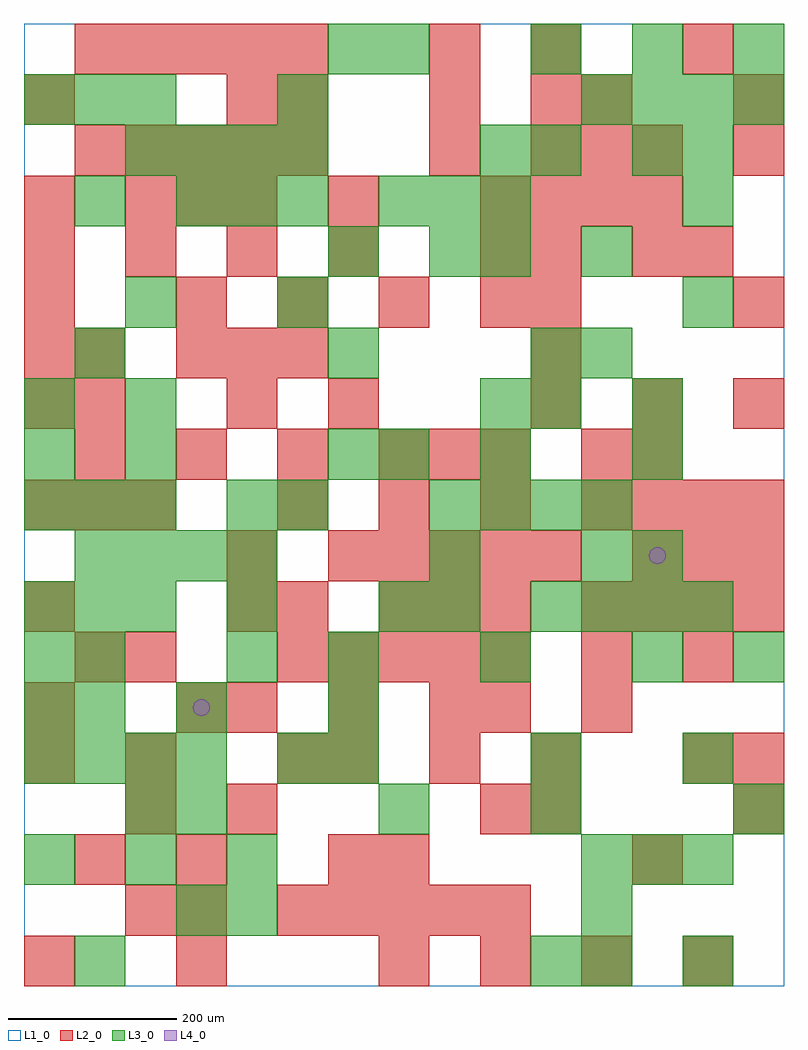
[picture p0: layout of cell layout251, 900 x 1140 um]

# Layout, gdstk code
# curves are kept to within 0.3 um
import gdstk
lib = gdstk.Library(unit=1e-6, precision=1e-09)
def R(c, l, rs):  # rectangles x0, y0, x1, y1
    for r in rs: c.add(gdstk.rectangle(r[:2], r[2:], *l))
def A(c, l, x, y, w, h, nx, ny, dx, dy):  # array of equal rectangles
    R(c, l, [(x+i*dx, y+j*dy, x+i*dx+w, y+j*dy+h) for i in range(nx) for j in range(ny)])
def P(c, l, *ps):  # polygons
    for p in ps: c.add(gdstk.Polygon(p, *l))
L1_0 = (1, 0)
L2_0 = (2, 0)
L3_0 = (3, 0)
L4_0 = (4, 0)

layout251 = lib.new_cell('layout251')
R(layout251, L1_0, [(0,0,900,1140)])
A(layout251, L2_0, 180, 0, 60, 60, 1, 3, 0, 60)
A(layout251, L2_0, 420, 0, 60, 60, 4, 1, 120, 0)
A(layout251, L2_0, 300, 60, 60, 60, 5, 2, 60, 300)
A(layout251, L2_0, 360, 240, 60, 60, 3, 1, 120, 0)
A(layout251, L2_0, 240, 300, 60, 60, 3, 1, 120, 0)
A(layout251, L2_0, 420, 420, 60, 60, 3, 1, 60, 0)
A(layout251, L2_0, 660, 420, 60, 60, 4, 1, 60, 0)
A(layout251, L2_0, 360, 480, 60, 60, 5, 1, 60, 0)
A(layout251, L2_0, 720, 480, 60, 60, 3, 2, 60, 60)
A(layout251, L2_0, 0, 540, 60, 60, 3, 1, 60, 0)
A(layout251, L2_0, 300, 540, 60, 60, 4, 1, 120, 0)
A(layout251, L2_0, 60, 600, 60, 60, 4, 1, 120, 0)
A(layout251, L2_0, 0, 660, 60, 60, 1, 3, 0, 60)
A(layout251, L2_0, 600, 660, 60, 60, 3, 1, 120, 0)
A(layout251, L2_0, 180, 720, 60, 60, 3, 1, 60, 0)
A(layout251, L2_0, 600, 720, 60, 60, 1, 3, 0, 60)
A(layout251, L2_0, 180, 780, 60, 60, 4, 1, 120, 0)
A(layout251, L2_0, 0, 840, 60, 60, 4, 1, 120, 0)
A(layout251, L2_0, 120, 900, 60, 60, 3, 1, 60, 0)
A(layout251, L2_0, 540, 900, 60, 60, 4, 1, 60, 0)
A(layout251, L2_0, 60, 960, 60, 60, 5, 2, 60, 120)
A(layout251, L2_0, 480, 960, 60, 60, 1, 3, 0, 60)
A(layout251, L2_0, 600, 960, 60, 60, 3, 1, 60, 0)
R(layout251, L2_0, [(0,0,60,60), (120,60,180,120), (60,120,120,180), (360,120,420,180), (420,120,480,180), (720,120,780,180), (120,180,180,240), (240,180,300,240), (540,180,600,240), (600,180,660,240), (840,180,900,240), (0,240,60,300), (120,240,180,300), (300,240,360,300), (780,240,840,300), (840,240,900,300), (0,300,60,360), (180,300,240,360), (540,300,600,360), (660,300,720,360), (60,360,120,420), (120,360,180,420), (660,360,720,420), (780,360,840,420), (0,420,60,480), (240,420,300,480), (300,420,360,480), (240,480,300,540), (480,600,540,660), (540,600,600,660), (660,600,720,660), (720,600,780,660), (60,660,120,720), (240,660,300,720), (360,660,420,720), (60,720,120,780), (840,780,900,840), (540,840,600,900), (720,840,780,900), (780,840,840,900), (0,900,60,960), (360,900,420,960), (840,960,900,1020), (0,1020,60,1080), (240,1020,300,1080), (300,1020,360,1080), (600,1020,660,1080), (660,1020,720,1080), (840,1020,900,1080), (600,1080,660,1140), (780,1080,840,1140)])
A(layout251, L3_0, 180, 60, 60, 60, 1, 3, 0, 120)
A(layout251, L3_0, 0, 120, 60, 60, 3, 1, 120, 0)
A(layout251, L3_0, 660, 120, 60, 60, 3, 1, 60, 0)
A(layout251, L3_0, 0, 240, 60, 60, 4, 1, 60, 0)
A(layout251, L3_0, 360, 360, 60, 60, 3, 1, 180, 0)
A(layout251, L3_0, 0, 420, 60, 60, 3, 2, 60, 120)
A(layout251, L3_0, 600, 420, 60, 60, 4, 1, 60, 0)
A(layout251, L3_0, 60, 480, 60, 60, 4, 1, 60, 0)
A(layout251, L3_0, 300, 540, 60, 60, 1, 3, 0, 240)
A(layout251, L3_0, 480, 540, 60, 60, 4, 1, 60, 0)
A(layout251, L3_0, 360, 600, 60, 60, 1, 3, 0, 120)
A(layout251, L3_0, 180, 900, 60, 60, 3, 1, 60, 0)
A(layout251, L3_0, 420, 900, 60, 60, 3, 1, 60, 0)
A(layout251, L3_0, 120, 960, 60, 60, 4, 1, 60, 0)
A(layout251, L3_0, 0, 1020, 60, 60, 3, 1, 60, 0)
A(layout251, L3_0, 660, 1020, 60, 60, 4, 1, 60, 0)
A(layout251, L3_0, 600, 1080, 60, 60, 3, 1, 120, 0)
R(layout251, L3_0, [(60,0,120,60), (600,0,660,60), (660,0,720,60), (780,0,840,60), (240,60,300,120), (660,60,720,120), (120,180,180,240), (420,180,480,240), (600,180,660,240), (840,180,900,240), (300,240,360,300), (360,240,420,300), (600,240,660,300), (780,240,840,300), (0,300,60,360), (60,300,120,360), (360,300,420,360), (0,360,60,420), (60,360,120,420), (240,360,300,420), (840,360,900,420), (240,420,300,480), (420,420,480,480), (480,420,540,480), (480,480,540,540), (660,480,720,540), (720,480,780,540), (240,540,300,600), (0,600,60,660), (120,600,180,660), (420,600,480,660), (540,600,600,660), (720,600,780,660), (0,660,60,720), (120,660,180,720), (540,660,600,720), (600,660,660,720), (720,660,780,720), (60,720,120,780), (600,720,660,780), (660,720,720,780), (120,780,180,840), (780,780,840,840), (480,840,540,900), (540,840,600,900), (660,840,720,900), (60,900,120,960), (780,900,840,960), (540,960,600,1020), (600,960,660,1020), (720,960,780,1020), (780,960,840,1020), (360,1080,420,1140), (420,1080,480,1140)])
P(layout251, L4_0, [(220,330),(219.239,333.827),(217.071,337.071),(213.827,339.239),(210,340),(206.173,339.239),(202.929,337.071),(200.761,333.827),(200,330),(200.761,326.173),(202.929,322.929),(206.173,320.761),(210,320),(213.827,320.761),(217.071,322.929),(219.239,326.173)],
  [(760,510),(759.239,513.827),(757.071,517.071),(753.827,519.239),(750,520),(746.173,519.239),(742.929,517.071),(740.761,513.827),(740,510),(740.761,506.173),(742.929,502.929),(746.173,500.761),(750,500),(753.827,500.761),(757.071,502.929),(759.239,506.173)])

lib.write_gds('layout251.gds')
